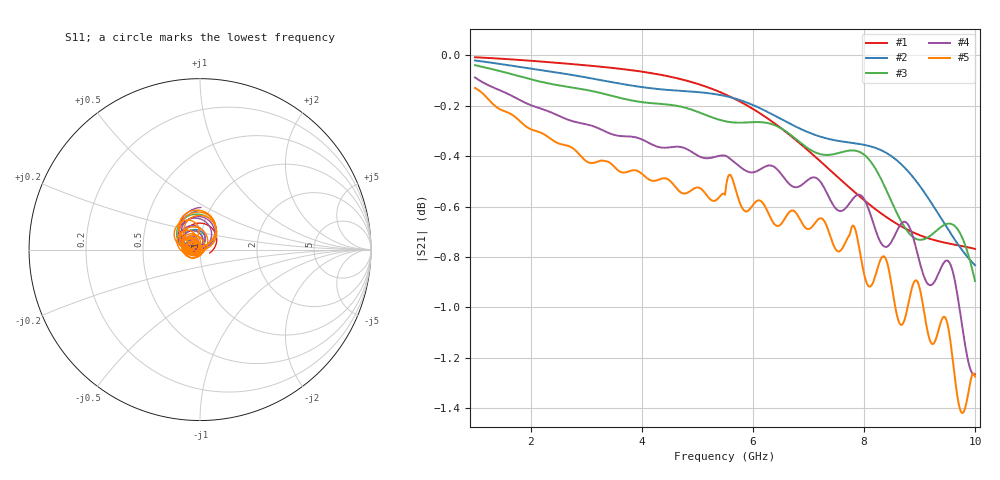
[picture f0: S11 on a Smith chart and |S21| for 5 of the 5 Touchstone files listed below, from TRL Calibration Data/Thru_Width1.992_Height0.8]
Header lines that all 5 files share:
! Touchstone file exported from HFSS 2018.2.0
!  File:  C:/Users/10024/OneDrive - The University of Nottingham Ningbo China/Year 4/Final Year Project/HFSS project/Patch-1.aedt
!  Design:  SMA_workbench
!  Project:  Patch-1
!  Setup:  Setup1
!  Solution:  Sweep
! Variables:
# GHZ S MA R 50.000000
! Modal data exported
! Port[1] = SMA_CONNECTOR1_1:1
! Port[2] = SMA_CONNECTOR2_1:1
Fixed: MW = 1.992mm, g = 0.2mm, subH = 0.8mm, subX = 20mm
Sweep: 1 GHz to 10 GHz
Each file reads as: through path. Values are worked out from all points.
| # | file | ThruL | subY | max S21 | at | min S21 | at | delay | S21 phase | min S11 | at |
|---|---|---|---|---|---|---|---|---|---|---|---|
| 1 | 0mm_Thru_W-1.992.s2p | 0.001mm | 10.001mm | -0.01 dB | 1 GHz | -0.8 dB | 10 GHz | 116 ps | 131 deg at 5.5 GHz | -42.0 dB | 4.6 GHz |
| 2 | 15mm_Thru_W-1.992.s2p | 15mm | 25mm | -0.02 dB | 1 GHz | -0.8 dB | 10 GHz | 196 ps | -24 deg at 5.5 GHz | -53.5 dB | 5.32 GHz |
| 3 | 40mm_Thru_W-1.992.s2p | 40mm | 50mm | -0.04 dB | 1 GHz | -0.9 dB | 10 GHz | 328 ps | 76 deg at 5.5 GHz | -54.8 dB | 1.5 GHz |
| 4 | 100mm_Thru_W-1.992.s2p | 100mm | 110mm | -0.09 dB | 1 GHz | -1.3 dB | 9.98 GHz | 647 ps | 170 deg at 5.5 GHz | -57.7 dB | 1.6 GHz |
| 5 | 150mm_Thru_W-1.992.s2p | 150mm | 160mm | -0.13 dB | 1 GHz | -1.4 dB | 9.78 GHz | 915 ps | 4 deg at 5.5 GHz | -53.5 dB | 1.68 GHz |
